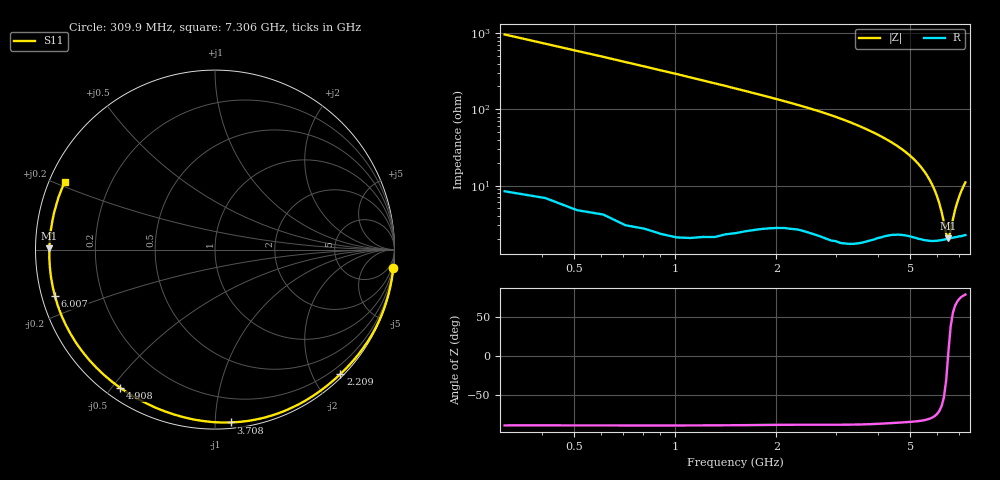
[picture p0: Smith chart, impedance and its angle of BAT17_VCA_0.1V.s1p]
! Infineon Technologies  Discrete & RF Semiconductors
! BAT17
! VCA = 0.1 V
! One-Port S-Parameters
# Hz  S  MA  R  50
!f  S11
!Hz  Mag  Ang
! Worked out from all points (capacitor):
!   71 points, 309.9 MHz to 7.306 GHz, reference 50 ohm
!   read as one part to ground: C = 530 fF near 309.9 MHz
!   lowest |Z| = 2.02 ohm at 6.507 GHz (marker M1)
!   series resonance near 6.491 GHz, so ESL is about 1.1 nH
!   S11 on the Smith chart (normalised r, x): 309.9 MHz: 0, -19; 2.209 GHz: 0.05, -2.43; 3.708 GHz: 0.04, -1.10; 4.908 GHz: 0.04, -0.53; 6.007 GHz: 0.04, -0.14; 7.306 GHz: 0.04, +0.22
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3.0985e8  0.9991 -5.9
8.096e8  0.998 -15.6
1.2094e9  0.9965 -23.5
1.6092e9  0.9925 -31.8
2.10895e9  0.9855 -42.6
2.2089e9  0.9845 -44.8
2.50875e9  0.982 -51.7
2.70865e9  0.981 -56.5
3.0085e9  0.9792 -64.3
3.2084e9  0.9776 -69.8
3.4083e9  0.9745 -75.6
3.70815e9  0.9671 -84.7
3.8081e9  0.9641 -87.8
4.008e9  0.9572 -94.1
4.2079e9  0.95 -100.6
4.50775e9  0.9409 -110.6
4.70765e9  0.9364 -117.5
4.90755e9  0.9338 -124.4
5.10745e9  0.9329 -131.4
5.30735e9  0.9326 -138.6
5.6072e9  0.9316 -149.5
5.8071e9  0.9308 -156.7
6.007e9  0.9289 -163.8
6.2069e9  0.9265 -170.7
6.50675e9  0.9229 179.5
6.70665e9  0.921 173.2
6.90655e9  0.9199 167.3
7.30635e9  0.9181 155.7
